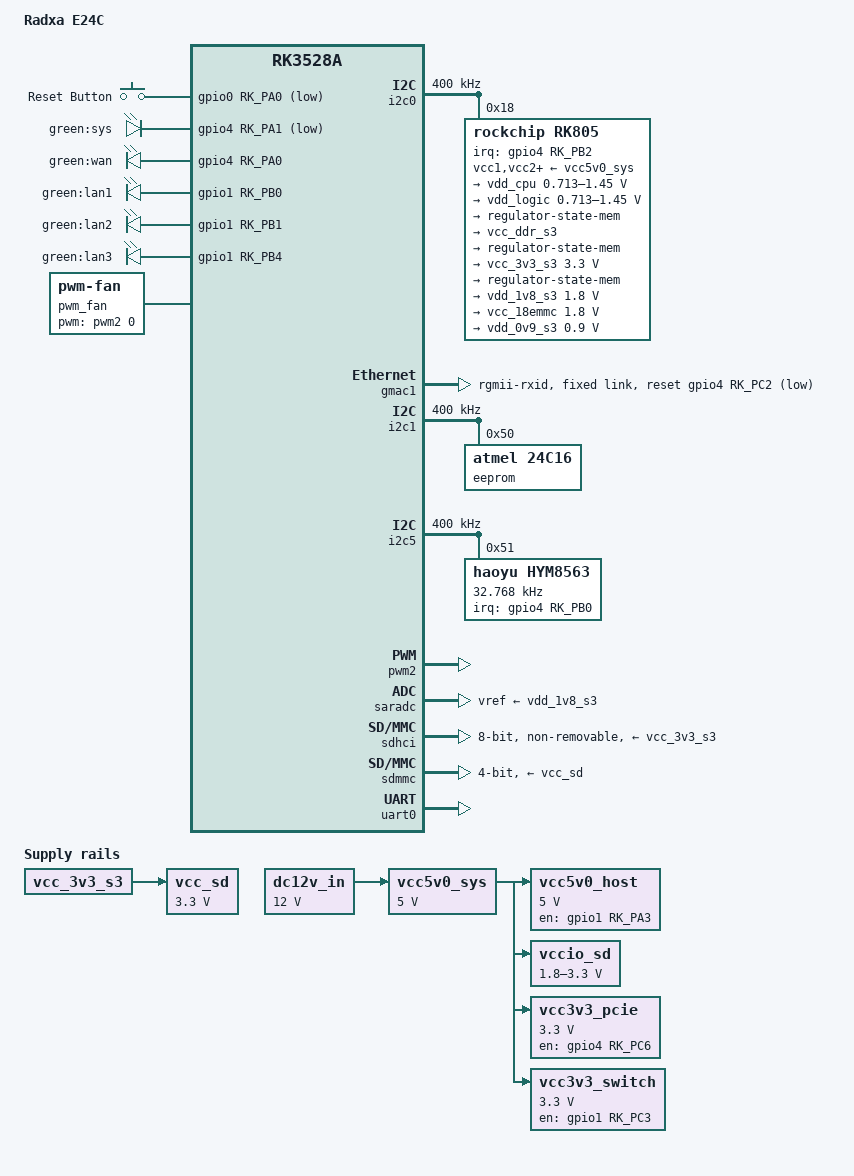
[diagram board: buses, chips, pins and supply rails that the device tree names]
// SPDX-License-Identifier: (GPL-2.0+ OR MIT)
/*
 * Copyright (c) 2022 Rockchip Electronics Co., Ltd.
 * Copyright (c) 2024 Radxa Computer (Shenzhen) Co., Ltd.
 * Copyright (c) 2025 Flippy <flippy@sina.com>
 */

/dts-v1/;

#include <dt-bindings/input/input.h>
#include <dt-bindings/leds/common.h>
#include <dt-bindings/pwm/pwm.h>
#include "rk3528.dtsi"

/ {
	model = "Radxa E24C";
	compatible = "radxa,e24c", "radxa,rock-2", "rockchip,rk3528a";

	chosen: chosen {
		bootargs = "earlycon=uart8250,mmio32,0xff9f0000 console=ttyS0:1500000";
	};

	aliases {
		ethernet0 = &gmac1;
		mmc0 = &sdmmc;
		mmc1 = &sdhci;
		mmc2 = &sdio0;
		rtc0 = &hym8563;
		rtc99 = &rk805_rtc;
	};

	reserved_memory: reserved-memory {
		#address-cells = <2>;
		#size-cells = <2>;
		ranges;

		drm_logo: drm-logo@0 {
			compatible = "rockchip,drm-logo";
			reg = <0x0 0x0 0x0 0x0>;
		};

		drm_cubic_lut: drm-cubic-lut@0 {
			compatible = "rockchip,drm-cubic-lut";
			reg = <0x0 0x0 0x0 0x0>;
		};

		ramoops: ramoops@110000 {
			compatible = "ramoops";
			/* 0x110000 to 0x1f0000 is for ramoops */
			reg = <0x0 0x110000 0x0 0xe0000>;
			boot-log-size = <0x8000>;	/* do not change */
			boot-log-count = <0x1>;		/* do not change */
			console-size = <0x80000>;
			pmsg-size = <0x30000>;
			ftrace-size = <0x00000>;
			record-size = <0x14000>;
		};
	};

	dc12v_in: regulator-dc12v-in {
		compatible = "regulator-fixed";
		regulator-name = "dc12v-in";
		regulator-always-on;
		regulator-boot-on;
		regulator-min-microvolt = <12000000>;
		regulator-max-microvolt = <12000000>;
	};

	vcc5v0_sys: regulator-vcc5v0-sys {
		compatible = "regulator-fixed";
		regulator-name = "vcc5v0_sys";
		regulator-always-on;
		regulator-boot-on;
		regulator-min-microvolt = <5000000>;
		regulator-max-microvolt = <5000000>;
		vin-supply = <&dc12v_in>;
	};

	vcc5v0_host: regulator-vcc5v0-host {
		compatible = "regulator-fixed";
		regulator-name = "vcc5v0_host";
		regulator-boot-on;
		regulator-always-on;
		regulator-min-microvolt = <5000000>;
		regulator-max-microvolt = <5000000>;
		enable-active-high;
		pinctrl-names = "default";
		pinctrl-0 = <&vcc5v0_host_en>;
		gpio = <&gpio1 RK_PA3 GPIO_ACTIVE_HIGH>;
		vin-supply = <&vcc5v0_sys>;
	};

	vccio_sd: vccio-sd {
		compatible = "regulator-gpio";
		regulator-name = "vccio_sd";
		regulator-min-microvolt = <1800000>;
		regulator-max-microvolt = <3300000>;
		pinctrl-names = "default";
		pinctrl-0 = <&vccio_sd_en>;
		gpios = <&gpio4 RK_PB6 GPIO_ACTIVE_HIGH>;
		vin-supply = <&vcc5v0_sys>;
		states = <1800000 0x0
			  3300000 0x1>;
	};

	vcc_sd: vcc-sd {
		compatible = "regulator-fixed";
		regulator-name = "vcc_sd";
		regulator-min-microvolt = <3300000>;
		regulator-max-microvolt = <3300000>;
		vin-supply = <&vcc_3v3_s3>;
	};

	vcc3v3_pcie: vcc3v3-pcie {
		compatible = "regulator-fixed";
		regulator-name = "vcc3v3_pcie";
		regulator-min-microvolt = <3300000>;
		regulator-max-microvolt = <3300000>;
		startup-delay-us = <5000>;
		enable-active-high;
		gpio = <&gpio4 RK_PC6 GPIO_ACTIVE_HIGH>;
		vin-supply = <&vcc5v0_sys>;
	};

	/*
	 * DC-DC: SY8088AAC(3v3) + SY8088AAC(1v1), max 1A
	 * input: vcc_5v0
	 * output: 3v3 to RTL8367RB AVDDH, 1v1 to RTL8367RB AVDDL
	 * enabled by GPIO1_C3
	 */
	vcc3v3_switch: regulator-vcc3v3-switch {
		compatible = "regulator-fixed";
		regulator-name = "vcc3v3_switch";
		regulator-min-microvolt = <3300000>;
		regulator-max-microvolt = <3300000>;
		regulator-boot-on;
		regulator-always-on;
		enable-active-high;
		gpio = <&gpio1 RK_PC3 GPIO_ACTIVE_HIGH>;
		pinctrl-names = "default";
		pinctrl-0 = <&rtl8367rb_power_en>;
		vin-supply = <&vcc5v0_sys>;
	};

	gpio_keys: gpio-keys {
		compatible = "gpio-keys";
		pinctrl-names = "default";
		pinctrl-0 = <&user_key>;
		autorepeat;

		user-key {
			label = "Reset Button";
			linux,code = <KEY_RESTART>;
			gpios = <&gpio0 RK_PA0 GPIO_ACTIVE_LOW>;
			debounce-interval = <100>;
		};
	};

	gpio_leds: gpio-leds {
		compatible = "gpio-leds";
		pinctrl-names = "default";

		sys-led {
			gpios = <&gpio4 RK_PA1 GPIO_ACTIVE_LOW>;
			label = "green:sys";
			linux,default-trigger = "heartbeat";
		};

		wan-led {
			gpios = <&gpio4 RK_PA0 GPIO_ACTIVE_HIGH>;
			label = "green:wan";
			linux,default-trigger = "netdev";
		};

		lan1-led {
			gpios = <&gpio1 RK_PB0 GPIO_ACTIVE_HIGH>;
			label = "green:lan1";
			linux,default-trigger = "netdev";
		};

		lan2-led {
			gpios = <&gpio1 RK_PB1 GPIO_ACTIVE_HIGH>;
			label = "green:lan2";
			linux,default-trigger = "netdev";
		};

		lan3-led {
			gpios = <&gpio1 RK_PB4 GPIO_ACTIVE_HIGH>;
			label = "green:lan3";
			linux,default-trigger = "netdev";
		};
	};

	pwm_fan: pwm-fan {
		compatible = "pwm-fan";
		#cooling-cells = <2>;
		cooling-min-state = <0>;
		cooling-max-state = <4>;
		cooling-levels = <0 64 128 192 255>;
		pwms = <&pwm2 0 40000 0>;
	};

	/* RTL8367RB-VB (num:6367 ver:0020) */
	switch0: switch0 {
		compatible = "realtek,rtl8367b";
		realtek,extif = <6 1 0 1 1 1 1 1 1 2>;
		mii-bus = <&mdio1>;
		phy-id = <29>;
	};
};

&soc {
	/delete-node/ i2c@ffa50000;

	i2c0: i2c@ffa50000 {
		compatible = "rockchip,rk3528-i2c",
			     "rockchip,rk3399-i2c";
		reg = <0x0 0xffa50000 0x0 0x1000>;
		clocks = <&cru CLK_I2C0>, <&cru PCLK_I2C0>;
		clock-names = "i2c", "pclk";
		interrupts = <GIC_SPI 61 IRQ_TYPE_LEVEL_HIGH>;
		#address-cells = <1>;
		#size-cells = <0>;
		status = "disabled";
	};
};

&cpu0 {
	cpu-supply = <&vdd_cpu>;
};

&cpu1 {
	cpu-supply = <&vdd_cpu>;
};

&cpu2 {
	cpu-supply = <&vdd_cpu>;
};

&cpu3 {
	cpu-supply = <&vdd_cpu>;
};

&gmac1 {
	status = "okay";
	phy-mode = "rgmii-rxid";
	clock_in_out = "output";
	label = "eth0";

	snps,reset-gpio = <&gpio4 RK_PC2 GPIO_ACTIVE_LOW>;
	snps,reset-active-low;
	/* Reset time is 20ms, 100ms for rtl8367rb */
	snps,reset-delays-us = <0 20000 100000>;

	pinctrl-names = "default";
	pinctrl-0 = <&rgmii_miim
			&rgmii_tx_bus2
			&rgmii_rx_bus2
			&rgmii_rgmii_clk
			&rgmii_rgmii_bus
			&eth_pins>;

	tx_delay = <0x3f>;
	rx_delay = <0x10>;

	fixed-link {
		speed = <1000>;
		full-duplex;
		pause;
	};
};

/* PMIC */
&i2c0 {
	clock-frequency = <400000>;
        pinctrl-names = "default";
        pinctrl-0 = <&i2c0m0_xfer>;
	status = "okay";

	rk805: rk805@18 {
		compatible = "rockchip,rk805";
		rockchip,rtc-startup-delay-ms = <1000>;
		reg = <0x18>;
		interrupt-parent = <&gpio4>;
		interrupts = <RK_PB2 IRQ_TYPE_LEVEL_LOW>;
		pinctrl-names = "default";
		pinctrl-0 = <&pmic_int_l>;
		wakeup-source;
		gpio-controller;
		#gpio-cells = <2>;
		#clock-cells = <1>;
		clock-output-names = "rk805-clkout1", "rk805-clkout2";
		status = "okay";
		system-power-controller;

		vcc1-supply = <&vcc5v0_sys>;
		vcc2-supply = <&vcc5v0_sys>;
		vcc3-supply = <&vcc5v0_sys>;
		vcc4-supply = <&vcc5v0_sys>;
		vcc5-supply = <&vcc5v0_sys>;
		vcc6-supply = <&vcc5v0_sys>;

		rk805_rtc: rtc {
			rockchip,rtc-startup-delay-ms = <500>;
		};

		regulators {
			vdd_cpu: DCDC_REG1 {
				regulator-name = "vdd_cpu";
				regulator-min-microvolt = <712500>;
				regulator-max-microvolt = <1450000>;
				regulator-init-microvolt = <953000>;
				regulator-initial-mode = <0x1>;
				regulator-ramp-delay = <12500>;
				regulator-boot-on;
				regulator-always-on;
				regulator-state-mem {
					regulator-on-in-suspend;
				};
			};

			vdd_logic: DCDC_REG2 {
				regulator-name = "vdd_logic";
				regulator-min-microvolt = <712500>;
				regulator-max-microvolt = <1450000>;
				regulator-init-microvolt = <900000>;
				regulator-initial-mode = <0x1>;
				regulator-ramp-delay = <12500>;
				regulator-boot-on;
				regulator-always-on;
				regulator-state-mem {
					regulator-mode = <0x2>;
					regulator-on-in-suspend;
					regulator-suspend-microvolt = <712500>;
				};
			};

			vcc_ddr_s3: DCDC_REG3 {
				regulator-name = "vcc_ddr_s3";
				regulator-initial-mode = <0x1>;
				regulator-boot-on;
				regulator-always-on;
				regulator-state-mem {
					regulator-mode = <0x2>;
					regulator-on-in-suspend;
				};
			};

			vcc_3v3_s3: DCDC_REG4 {
				regulator-name = "vcc_3v3_s3";
				regulator-min-microvolt = <3300000>;
				regulator-max-microvolt = <3300000>;
				regulator-initial-mode = <0x1>;
				regulator-boot-on;
				regulator-always-on;
				regulator-state-mem {
					regulator-mode = <0x2>;
					regulator-on-in-suspend;
					regulator-suspend-microvolt = <3300000>;
				};
			};

			vdd_1v8_s3: LDO_REG1 {
				regulator-name = "vdd_1v8_s3";
				regulator-min-microvolt = <1800000>;
				regulator-max-microvolt = <1800000>;
				regulator-boot-on;
				regulator-always-on;
				regulator-state-mem {
					regulator-on-in-suspend;
					regulator-suspend-microvolt = <1800000>;
				};
			};

			vcc_18emmc: LDO_REG2 {
				regulator-name = "vcc_18emmc";
				regulator-min-microvolt = <1800000>;
				regulator-max-microvolt = <1800000>;
				regulator-boot-on;
				regulator-always-on;
				regulator-state-mem {
					regulator-on-in-suspend;
					regulator-suspend-microvolt = <1800000>;
				};
			};

			vdd_0v9_s3: LDO_REG3 {
				regulator-name = "vdd_0v9_s3";
				regulator-min-microvolt = <900000>;
				regulator-max-microvolt = <900000>;
				regulator-boot-on;
				regulator-always-on;
				regulator-state-mem {
					regulator-on-in-suspend;
					regulator-suspend-microvolt = <900000>;
				};
			};
		};
	};
};

/* EEPROM */
&i2c1 {
	clock-frequency = <400000>;
	pinctrl-names = "default";
	pinctrl-0 = <&i2c1m0_xfer>;
	status = "okay";

	eeprom:	bl24c16@50 {
		status = "okay";
		compatible = "atmel,24c16";
		reg = <0x50>;
		pagesize = <16>;
	};
};

/* LCD (option) */
&i2c2 {
	clock-frequency = <400000>;
	pinctrl-names = "default";
	pinctrl-0 = <&i2c2m1_xfer>;
	status = "disabled";
};

&i2c5 {
	clock-frequency = <400000>;
	pinctrl-names = "default";
	pinctrl-0 = <&i2c5m0_xfer>;
	status = "okay";

	hym8563: hym8563@51 {
		compatible = "haoyu,hym8563";
		reg = <0x51>;
		#clock-cells = <0>;
		clock-frequency = <32768>;
		clock-output-names = "hym8563";
		pinctrl-names = "default";
		pinctrl-0 = <&hym8563_int_l>;
		interrupt-parent = <&gpio4>;
		interrupts = <RK_PB0 IRQ_TYPE_LEVEL_LOW>;
		wakeup-source;
	};
};

&pinctrl {
	pmic {
		pmic_int_l: pmic-int-l {
			rockchip,pins = <4 RK_PB2 RK_FUNC_GPIO &pcfg_pull_up>;
		};
	};

	keys {
		user_key: user-key {
			rockchip,pins = <0 RK_PA0 RK_FUNC_GPIO &pcfg_pull_up>;
		};
	};

	regulators {
		vcc5v0_host_en: vcc5v0-host-en {
			rockchip,pins = <1 RK_PA3 RK_FUNC_GPIO &pcfg_pull_none>;
		};

		vccio_sd_en: vccio-sd-en {
			rockchip,pins = <4 RK_PB6 RK_FUNC_GPIO &pcfg_pull_none>;
		};
	};

	rtc {
		hym8563_int_l: hym8563-int-l {
			rockchip,pins = <4 RK_PB0 RK_FUNC_GPIO &pcfg_pull_none>;
		};
	};

	switch {
		rtl8367rb_power_en: rtl8367rb-power-en {
			rockchip,pins = <1 RK_PC3 RK_FUNC_GPIO &pcfg_pull_none>;
		};
	};
};

/* PWM FAN */
&pwm2 {
	pinctrl-names = "default";
	pinctrl-0 = <&pwm2m0_pins>;
	status = "okay";
};

&saradc {
	vref-supply = <&vdd_1v8_s3>;
	status = "okay";
};

&sdhci {
	bus-width = <8>;
	cap-mmc-highspeed;
	no-sd;
	no-sdio;
	non-removable;
	mmc-hs200-1_8v;
	//mmc-hs400-1_8v;
	//mmc-hs400-enhanced-strobe;
	vmmc-supply = <&vcc_3v3_s3>;
	vqmmc-supply = <&vcc_18emmc>;
	status = "okay";
};

&sdmmc {
	bus-width = <4>;
	cap-mmc-highspeed;
	cap-sd-highspeed;
	disable-wp;
	sd-uhs-sdr104;
	vmmc-supply = <&vcc_sd>;
	vqmmc-supply = <&vccio_sd>;
	status = "okay";
};

&uart0 {
	pinctrl-names = "default";
	pinctrl-0 = <&uart0m0_xfer>;
	status = "okay";
};
